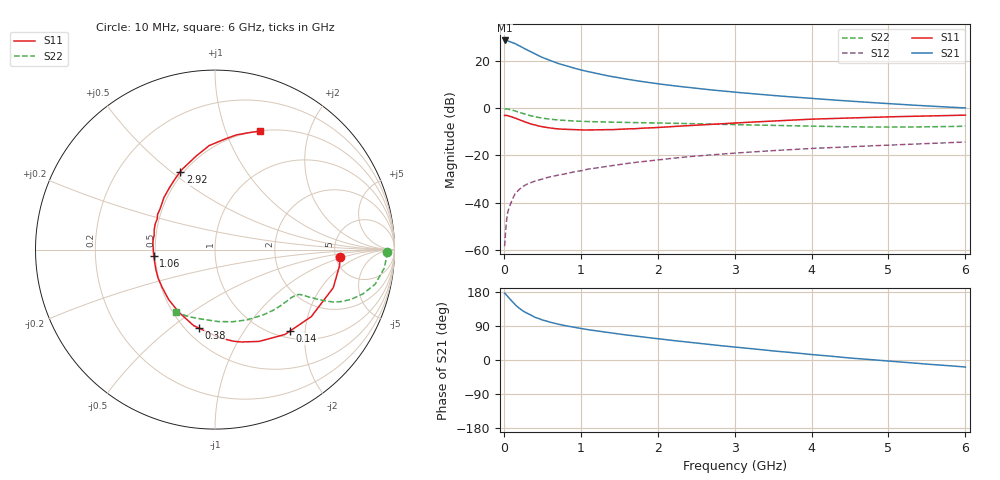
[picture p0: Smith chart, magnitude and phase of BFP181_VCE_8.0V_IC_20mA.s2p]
! Infineon Technologies  Discrete & RF Semiconductors
! BFP181
! VCE = 8.0 V,  IC =  20 mA
! Common Emitter S-Parameters:  Jan 2016
# GHz  S  MA  R  50
!  f  S11  S21  S12  S22
! GHz  MAG  ANG  MAG  ANG  MAG  ANG  MAG  ANG
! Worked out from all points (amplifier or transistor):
!   210 points, 10 MHz to 6 GHz, reference 50 ohm
!   highest |S21| = 28.5 dB at 10 MHz (marker M1)
!   |S21| within 3 dB of that: start of sweep to 243.4 MHz
!   unconditionally stable (mu >= 1): 888 MHz to end of sweep
!   at 185 MHz: K = 0.37, MSG = 30.7 dB, |S12| = -34.9 dB
!   at 1.52 GHz: K = 1.16, MAG = 15.8 dB, |S12| = -23.8 dB
!   at 6 GHz: K = 1.02, MAG = 6.4 dB, |S12| = -14.4 dB
!   S11 on the Smith chart (normalised r, x): 10 MHz: 5.48, -0.83; 140 MHz: 1.14, -1.67; 380 MHz: 0.58, -0.63; 1.06 GHz: 0.49, -0.04; 2.92 GHz: 0.48, +0.54; 6 GHz: 0.50, +1.32
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0.01  0.6972 -3.2  26.74 176.4  0.0012 77.4  0.9598 -0.8
0.05  0.6922 -17.9  26.25 167.4  0.0062 81.4  0.9483 -6.3
0.1  0.6537 -34.8  24.58 156.0  0.0106 73.3  0.9129 -12.2
0.14  0.617 -47.2  23.08 147.6  0.0147 67.1  0.8701 -15.8
0.15  0.6127 -50.5  22.79 145.3  0.0157 66.1  0.8599 -16.7
0.2  0.5673 -64.4  20.8 136.5  0.019 62.9  0.8071 -20.1
0.22  0.5494 -69.0  19.91 133.7  0.0202 61.6  0.7877 -21.0
0.26  0.5211 -78.5  18.3 128.0  0.0225 59.4  0.7507 -22.8
0.3  0.4926 -87.0  16.94 123.3  0.0245 57.1  0.7173 -24.0
0.38  0.4462 -101.7  14.53 115.5  0.0275 55.2  0.6653 -25.2
0.5  0.4021 -120.5  11.72 105.7  0.0315 53.7  0.6092 -26.3
0.6  0.3795 -133.0  10.14 99.8  0.0351 53.4  0.5795 -26.9
0.8  0.3546 -153.5  7.838 90.5  0.0404 54.0  0.5444 -27.6
1.02  0.3432 -171.0  6.257 82.6  0.0476 54.5  0.5217 -28.9
1.06  0.3429 -173.7  6.052 81.3  0.0494 54.5  0.5188 -29.2
1.5  0.3557 162.5  4.331 68.4  0.0635 54.0  0.4978 -33.5
2.02  0.3881 140.2  3.218 55.8  0.0806 51.4  0.4811 -40.4
2.92  0.475 114.0  2.222 35.8  0.1088 44.9  0.4485 -54.9
3.1  0.4919 109.8  2.091 32.2  0.114 43.5  0.4414 -58.0
4.1  0.5866 91.6  1.552 12.8  0.1418 35.3  0.4101 -78.3
5.1  0.6552 78.3  1.207 -4.4  0.1667 27.8  0.3944 -101.1
6  0.7056 69.3  1.001 -18.5  0.191 20.5  0.4118 -122.0
